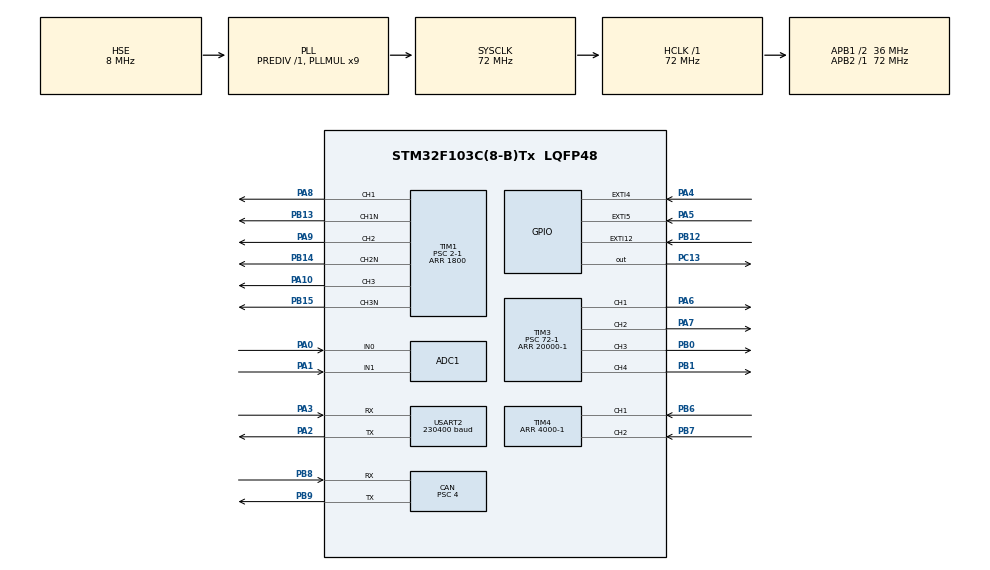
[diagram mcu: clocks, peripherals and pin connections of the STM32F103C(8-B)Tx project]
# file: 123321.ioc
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ADC1.Channel-0\#ChannelRegularConversion=ADC_CHANNEL_0
ADC1.Channel-1\#ChannelRegularConversion=ADC_CHANNEL_1
ADC1.DiscontinuousConvMode=ENABLE
ADC1.NbrOfConversion=2
ADC1.NbrOfConversionFlag=1
ADC1.Rank-0\#ChannelRegularConversion=1
ADC1.Rank-1\#ChannelRegularConversion=2
ADC1.SamplingTime-0\#ChannelRegularConversion=ADC_SAMPLETIME_239CYCLES_5
ADC1.SamplingTime-1\#ChannelRegularConversion=ADC_SAMPLETIME_239CYCLES_5
ADC1.master=1
CAN.ABOM=ENABLE
CAN.BS1=CAN_BS1_6TQ
CAN.BS2=CAN_BS2_2TQ
CAN.CalculateBaudRate=1000000
CAN.CalculateTimeBit=1000
CAN.CalculateTimeQuantum=111.11111111111111
CAN.NART=ENABLE
CAN.Prescaler=4
Mcu.Family=STM32F1
Mcu.Name=STM32F103C(8-B)Tx
Mcu.Package=LQFP48
NVIC.EXTI15_10_IRQn=true\:0\:0\:false\:false\:true\:true\:true\:true
NVIC.EXTI4_IRQn=true\:0\:0\:false\:false\:true\:true\:true\:true
NVIC.EXTI9_5_IRQn=true\:0\:0\:false\:false\:true\:true\:true\:true
NVIC.PriorityGroup=NVIC_PRIORITYGROUP_4
NVIC.TIM2_IRQn=true\:0\:0\:false\:false\:true\:true\:true\:true
NVIC.TIM4_IRQn=true\:5\:0\:true\:false\:true\:true\:true\:true
NVIC.USART2_IRQn=true\:0\:0\:false\:false\:true\:true\:true\:true
NVIC.USB_LP_CAN1_RX0_IRQn=true\:0\:0\:false\:false\:true\:true\:true\:true
PA0-WKUP.Signal=ADCx_IN0
PA1.Signal=ADCx_IN1
PA10.Signal=S_TIM1_CH3
PA13.Mode=Serial_Wire
PA13.Signal=SYS_JTMS-SWDIO
PA14.Mode=Serial_Wire
PA14.Signal=SYS_JTCK-SWCLK
PA2.Mode=Asynchronous
PA2.Signal=USART2_TX
PA3.Mode=Asynchronous
PA3.Signal=USART2_RX
PA4.GPIO_PuPd=GPIO_PULLUP
PA4.Signal=GPXTI4
PA5.GPIO_PuPd=GPIO_PULLUP
PA5.Signal=GPXTI5
PA6.Signal=S_TIM3_CH1
PA7.Signal=S_TIM3_CH2
PA8.Signal=S_TIM1_CH1
PA9.Signal=S_TIM1_CH2
PB0.Signal=S_TIM3_CH3
PB1.Signal=S_TIM3_CH4
PB12.GPIO_PuPd=GPIO_PULLUP
PB12.Signal=GPXTI12
PB13.Mode=PWM Generation1 CH1 CH1N
PB13.Signal=TIM1_CH1N
PB14.Mode=PWM Generation2 CH2 CH2N
PB14.Signal=TIM1_CH2N
PB15.Mode=PWM Generation3 CH3 CH3N
PB15.Signal=TIM1_CH3N
PB6.Signal=S_TIM4_CH1
PB7.Signal=S_TIM4_CH2
PB8.Mode=CAN_Activate
PB8.Signal=CAN_RX
PB9.Mode=CAN_Activate
PB9.Signal=CAN_TX
PC13-TAMPER-RTC.GPIO_Speed=GPIO_SPEED_FREQ_LOW
PC13-TAMPER-RTC.Signal=GPIO_Output
PC14-OSC32_IN.Mode=LSE-External-Oscillator
PC14-OSC32_IN.Signal=RCC_OSC32_IN
PC15-OSC32_OUT.Mode=LSE-External-Oscillator
PC15-OSC32_OUT.Signal=RCC_OSC32_OUT
PD0-OSC_IN.Mode=HSE-External-Oscillator
PD0-OSC_IN.Signal=RCC_OSC_IN
PD1-OSC_OUT.Mode=HSE-External-Oscillator
PD1-OSC_OUT.Signal=RCC_OSC_OUT
ProjectManager.HeapSize=0x200
ProjectManager.StackSize=0x400
ProjectManager.TargetToolchain=MDK-ARM V5.32
RCC.ADCPresc=RCC_ADCPCLK2_DIV6
RCC.AHBFreq_Value=72000000
RCC.APB1CLKDivider=RCC_HCLK_DIV2
RCC.APB1Freq_Value=36000000
RCC.APB1TimFreq_Value=72000000
RCC.APB2Freq_Value=72000000
RCC.APB2TimFreq_Value=72000000
RCC.FLatency=FLASH_LATENCY_2
RCC.HCLKFreq_Value=72000000
RCC.PLLMUL=RCC_PLL_MUL9
RCC.PLLSourceVirtual=RCC_PLLSOURCE_HSE
RCC.SYSCLKFreq_VALUE=72000000
RCC.SYSCLKSource=RCC_SYSCLKSOURCE_PLLCLK
RCC.USBFreq_Value=72000000
SH.ADCx_IN0.0=ADC1_IN0,IN0
SH.ADCx_IN1.0=ADC1_IN1,IN1
SH.S_TIM1_CH1.0=TIM1_CH1,PWM Generation1 CH1 CH1N
SH.S_TIM1_CH2.0=TIM1_CH2,PWM Generation2 CH2 CH2N
SH.S_TIM1_CH3.0=TIM1_CH3,PWM Generation3 CH3 CH3N
SH.S_TIM3_CH1.0=TIM3_CH1,PWM Generation1 CH1
SH.S_TIM3_CH2.0=TIM3_CH2,PWM Generation2 CH2
SH.S_TIM3_CH3.0=TIM3_CH3,PWM Generation3 CH3
SH.S_TIM3_CH4.0=TIM3_CH4,PWM Generation4 CH4
SH.S_TIM4_CH1.0=TIM4_CH1,Encoder_Interface
SH.S_TIM4_CH2.0=TIM4_CH2,Encoder_Interface
TIM1.AutoReloadPreload=TIM_AUTORELOAD_PRELOAD_ENABLE
TIM1.Channel-PWM\ Generation1\ CH1\ CH1N=TIM_CHANNEL_1
TIM1.Channel-PWM\ Generation2\ CH2\ CH2N=TIM_CHANNEL_2
TIM1.Channel-PWM\ Generation3\ CH3\ CH3N=TIM_CHANNEL_3
TIM1.CounterMode=TIM_COUNTERMODE_CENTERALIGNED1
TIM1.Period=1800
TIM1.Prescaler=2-1
TIM2.AutoReloadPreload=TIM_AUTORELOAD_PRELOAD_ENABLE
TIM2.Period=1000-1
TIM2.Prescaler=72-1
TIM3.AutoReloadPreload=TIM_AUTORELOAD_PRELOAD_ENABLE
TIM3.Channel-PWM\ Generation1\ CH1=TIM_CHANNEL_1
TIM3.Channel-PWM\ Generation2\ CH2=TIM_CHANNEL_2
TIM3.Channel-PWM\ Generation3\ CH3=TIM_CHANNEL_3
TIM3.Channel-PWM\ Generation4\ CH4=TIM_CHANNEL_4
TIM3.OCFastMode_PWM-PWM\ Generation1\ CH1=TIM_OCFAST_ENABLE
TIM3.OCFastMode_PWM-PWM\ Generation2\ CH2=TIM_OCFAST_ENABLE
TIM3.OCFastMode_PWM-PWM\ Generation4\ CH4=TIM_OCFAST_ENABLE
TIM3.Period=20000-1
TIM3.Prescaler=72-1
TIM4.EncoderMode=TIM_ENCODERMODE_TI12
TIM4.IC1Filter=1
TIM4.IC2Filter=1
TIM4.Period=4000-1
USART2.BaudRate=230400
USART2.VirtualMode=VM_ASYNC
VP_TIM1_VS_ClockSourceINT.Mode=Internal
VP_TIM2_VS_ClockSourceINT.Mode=Internal
VP_TIM3_VS_ClockSourceINT.Mode=Internal
board=custom

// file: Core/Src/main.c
/* USER CODE BEGIN Header */
/**
  ******************************************************************************
  * @file           : main.c
  * @brief          : Main program body
  ******************************************************************************
  * @attention
  *
  * Copyright (c) 2026 STMicroelectronics.
  * All rights reserved.
  *
  * This software is licensed under terms that can be found in the LICENSE file
  * in the root directory of this software component.
  * If no LICENSE file comes with this software, it is provided AS-IS.
  *
  ******************************************************************************
  */
/* USER CODE END Header */
#include "main.h"
#include "adc.h"
#include "can.h"
#include "tim.h"
#include "usart.h"
#include "gpio.h"

/* USER CODE BEGIN PV */
volatile uint32_t tim2_irq_count = 0;
volatile uint16_t adc_value[2] = {0};
volatile uint8_t pa5_level = 0;
CAN_TxHeaderTypeDef TxHeader ;
CAN_RxHeaderTypeDef RxHeader ;

uint8_t TxData[8] = {0} ;
uint8_t RxData[8] = {0} ;

uint32_t TxMailbox ;

volatile uint8_t can_1khz_flag = 0;
volatile uint8_t can_rx_flag = 0;
/* USER CODE END PV */

void SystemClock_Config(void);

/* USER CODE BEGIN 0 */
int Encoder_Overflow_count=0;

void HAL_TIM_PeriodElapsedCallback(TIM_HandleTypeDef *htim) //?????????,????????
{
/* TIM4????????,TIM4???? */
	  if(htim-> Instance == TIM2){
              tim2_irq_count++;
           can_1khz_flag = 1;
			//suaiosda
		     }
    if(htim->Instance == TIM4)    //????TIM4
    {
        if((TIM4->CR1>>4&0x01)==0)   //????DIR?,????????????
        {
            Encoder_Overflow_count++;
        }
        else if((TIM4->CR1>>4&0x01)==1)
        {
            Encoder_Overflow_count--;
        }
    }
}

/* USER CODE END 0 */

int main(void)
{

  /* MCU Configuration--------------------------------------------------------*/

  /* Reset of all peripherals, Initializes the Flash interface and the Systick. */
  HAL_Init();

  /* Configure the system clock */
  SystemClock_Config();

  /* Initialize all configured peripherals */
  MX_GPIO_Init();
  MX_TIM3_Init();
  MX_TIM4_Init();
  MX_TIM2_Init();
  MX_TIM1_Init();
  MX_USART2_UART_Init();
  MX_ADC1_Init();
  MX_CAN_Init();
  /* USER CODE BEGIN 2 */
	HAL_TIM_Base_Start_IT(&htim2);
	__HAL_TIM_ENABLE_IT(&htim2,TIM_IT_UPDATE);

	CAN_FilterTypeDef filter;
	filter.FilterBank = 0;
	filter.FilterMode = CAN_FILTERMODE_IDMASK;
	filter.FilterScale = CAN_FILTERSCALE_32BIT;

	filter.FilterIdHigh = 0x0000;
	filter.FilterIdLow = 0x0000;

	filter.FilterMaskIdHigh = 0x0000;
	filter.FilterMaskIdLow = 0x0000;

	filter.FilterFIFOAssignment = CAN_RX_FIFO0;
	filter.FilterActivation = ENABLE;
	filter.SlaveStartFilterBank =14;

	if(HAL_CAN_ConfigFilter(&hcan,&filter)!=HAL_OK){
	   Error_Handler();
	}

	HAL_CAN_Start(&hcan);
	HAL_CAN_ActivateNotification(&hcan,CAN_IT_RX_FIFO0_MSG_PENDING);

	TxHeader.StdId = 0x001;
	TxHeader.ExtId = 0 ;
	TxHeader.IDE = CAN_ID_STD;
	TxHeader.RTR = CAN_RTR_DATA;
	TxHeader.DLC = 8;
	TxHeader.TransmitGlobalTime =DISABLE;
	HAL_TIM_PWM_Start(&htim1,TIM_CHANNEL_1);
	HAL_TIMEx_PWMN_Start(&htim1,TIM_CHANNEL_1);
	HAL_TIM_PWM_Start(&htim1,TIM_CHANNEL_2);
	HAL_TIMEx_PWMN_Start(&htim1,TIM_CHANNEL_2);
	HAL_TIM_PWM_Start(&htim1,TIM_CHANNEL_3);
	HAL_TIMEx_PWMN_Start(&htim1,TIM_CHANNEL_3);
	TIM1->CCR1= 280;
	TIM1->CCR2= 560;
	TIM1->CCR3= 1280;
	HAL_TIM_Encoder_Start_IT(&htim4,TIM_CHANNEL_ALL);
	__HAL_TIM_ENABLE_IT(&htim4,TIM_IT_UPDATE);
	HAL_TIM_PWM_Start(&htim3,TIM_CHANNEL_1);
	HAL_TIM_PWM_Start(&htim3,TIM_CHANNEL_2);
	HAL_TIM_PWM_Start(&htim3,TIM_CHANNEL_3);
	HAL_TIM_PWM_Start(&htim3,TIM_CHANNEL_4);
	 TIM3->CCR1 = 5000;
        TIM3->CCR2 = 10000;
        TIM3->CCR3 = 15000;
        TIM3->CCR4 = 19000;

	//HAL_TIM_Base_Start_IT(&htim2);
	__HAL_TIM_ENABLE_IT(&htim2,TIM_IT_UPDATE);
//	if (HAL_ADCEx_Calibration_Start(&hadc1) != HAL_OK)
//{
  //  Error_Handler();
//}

  /* USER CODE END 2 */

  /* Infinite loop */
  while (1)
  {

    /* USER CODE BEGIN 3 */
		if(can_1khz_flag){
		    can_1khz_flag = 0;
			TxData[0]++;

			if(HAL_CAN_GetTxMailboxesFreeLevel(&hcan) > 0){
			   HAL_CAN_AddTxMessage(&hcan,&TxHeader,TxData,&TxMailbox);
			}
		}
		uint8_t i;

for (i = 0; i < 2; i++)
{
    /* ????????? Rank */
    if (HAL_ADC_Start(&hadc1) != HAL_OK)
    {
        break;
    }

    if (HAL_ADC_PollForConversion(&hadc1, 100) != HAL_OK)
    {
        break;
    }

    adc_value[i] = (uint16_t)HAL_ADC_GetValue(&hadc1);
}

/* ?????????? */
HAL_ADC_Stop(&hadc1);
pa5_level = HAL_GPIO_ReadPin(GPIOA, GPIO_PIN_5);
		            HAL_GPIO_WritePin(GPIOC, GPIO_PIN_13, GPIO_PIN_RESET);
             //   HAL_Delay(800);
                HAL_GPIO_WritePin(GPIOC, GPIO_PIN_13, GPIO_PIN_SET);//??????
               // HAL_Delay(800);
  }

  /* USER CODE END 3 */
}

void SystemClock_Config(void)
{
  RCC_OscInitTypeDef RCC_OscInitStruct = {0};
  RCC_ClkInitTypeDef RCC_ClkInitStruct = {0};
  RCC_PeriphCLKInitTypeDef PeriphClkInit = {0};

  /** Initializes the RCC Oscillators according to the specified parameters
  * in the RCC_OscInitTypeDef structure.
  */
  RCC_OscInitStruct.OscillatorType = RCC_OSCILLATORTYPE_HSE;
  RCC_OscInitStruct.HSEState = RCC_HSE_ON;
  RCC_OscInitStruct.HSEPredivValue = RCC_HSE_PREDIV_DIV1;
  RCC_OscInitStruct.HSIState = RCC_HSI_ON;
  RCC_OscInitStruct.PLL.PLLState = RCC_PLL_ON;
  RCC_OscInitStruct.PLL.PLLSource = RCC_PLLSOURCE_HSE;
  RCC_OscInitStruct.PLL.PLLMUL = RCC_PLL_MUL9;
  if (HAL_RCC_OscConfig(&RCC_OscInitStruct) != HAL_OK)
  {
    Error_Handler();
  }

  /** Initializes the CPU, AHB and APB buses clocks
  */
  RCC_ClkInitStruct.ClockType = RCC_CLOCKTYPE_HCLK|RCC_CLOCKTYPE_SYSCLK
                              |RCC_CLOCKTYPE_PCLK1|RCC_CLOCKTYPE_PCLK2;
  RCC_ClkInitStruct.SYSCLKSource = RCC_SYSCLKSOURCE_PLLCLK;
  RCC_ClkInitStruct.AHBCLKDivider = RCC_SYSCLK_DIV1;
  RCC_ClkInitStruct.APB1CLKDivider = RCC_HCLK_DIV2;
  RCC_ClkInitStruct.APB2CLKDivider = RCC_HCLK_DIV1;

  if (HAL_RCC_ClockConfig(&RCC_ClkInitStruct, FLASH_LATENCY_2) != HAL_OK)
  {
    Error_Handler();
  }
  PeriphClkInit.PeriphClockSelection = RCC_PERIPHCLK_ADC;
  PeriphClkInit.AdcClockSelection = RCC_ADCPCLK2_DIV6;
  if (HAL_RCCEx_PeriphCLKConfig(&PeriphClkInit) != HAL_OK)
  {
    Error_Handler();
  }
}

/* USER CODE BEGIN 4 */
void HAL_CAN_RxFifo0MsgPendingCallback(CAN_HandleTypeDef *hcan){
    if(HAL_CAN_GetRxMessage(hcan,CAN_RX_FIFO0,&RxHeader,RxData) == HAL_OK){
		   can_rx_flag = 1;
		}
}
void HAL_GPIO_EXTI_Callback(uint16_t GPIO_Pin)
{

        if(GPIO_Pin==GPIO_PIN_4)
        {
                if(HAL_GPIO_ReadPin(GPIOA,GPIO_PIN_4)==1) // ???
                {
                        HAL_GPIO_TogglePin(GPIOC,GPIO_PIN_13);
                }
        }

        if(GPIO_Pin==GPIO_PIN_5)
        {
                if(HAL_GPIO_ReadPin(GPIOA,GPIO_PIN_5)==1) // ???
                {
                        HAL_GPIO_TogglePin(GPIOC,GPIO_PIN_13);
                }
        }

        if(GPIO_Pin==GPIO_PIN_12)
        {
                if(HAL_GPIO_ReadPin(GPIOB,GPIO_PIN_12)==1) // ???
                {
                        HAL_GPIO_TogglePin(GPIOC,GPIO_PIN_13);
                }
        }
			}
/* USER CODE END 4 */

void Error_Handler(void)
{
  __disable_irq();
  while (1)
  {
  }
}
